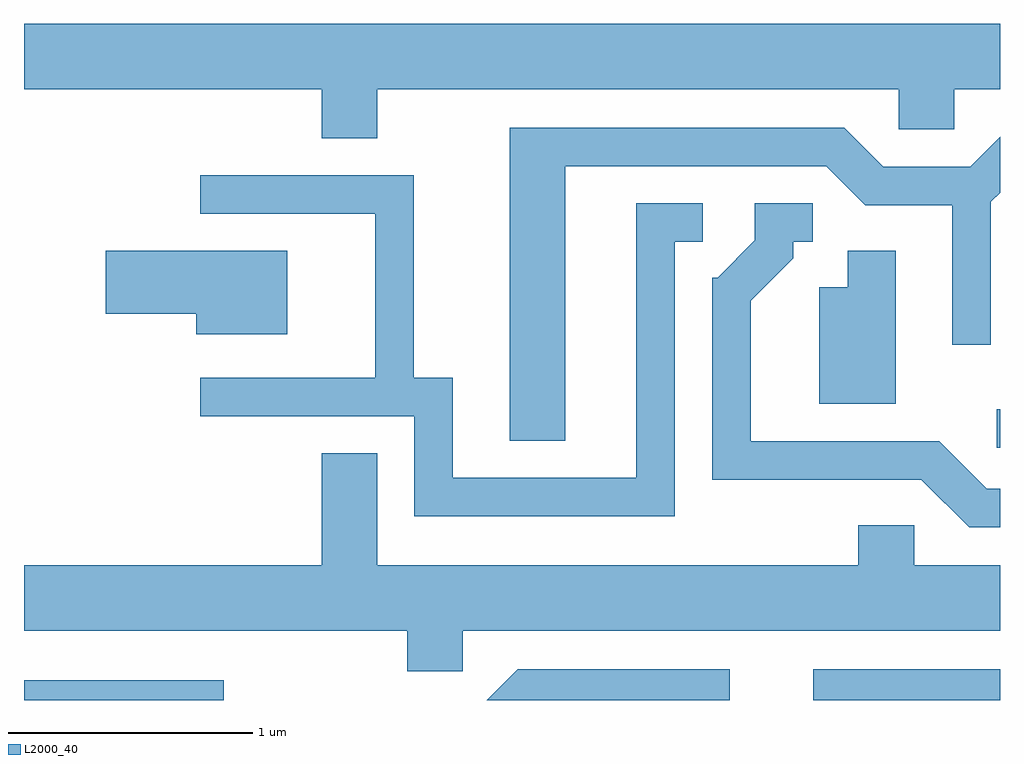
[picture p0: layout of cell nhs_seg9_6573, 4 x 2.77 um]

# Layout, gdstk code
import gdstk
lib = gdstk.Library(unit=1e-6, precision=1e-09)
def R(c, l, rs):  # rectangles x0, y0, x1, y1
    for r in rs: c.add(gdstk.rectangle(r[:2], r[2:], *l))
def P(c, l, *ps):  # polygons
    for p in ps: c.add(gdstk.Polygon(p, *l))
L2000_40 = (2000, 40)

nhs_seg9_6573 = lib.new_cell('nhs_seg9_6573')
R(nhs_seg9_6573, L2000_40, [(379.611,1980.432,380.429,1980.514), (382.846,1980.432,383.611,1980.559), (383.598,1981.466,383.611,1981.624)])
P(nhs_seg9_6573, L2000_40, [(381.059,1982.936),(383.196,1982.936),(383.196,1982.771),(383.424,1982.771),(383.424,1982.936),(383.611,1982.936),(383.611,1983.204),(379.611,1983.204),(379.611,1982.936),(380.831,1982.936),(380.831,1982.736),(381.059,1982.736)],
  [(381.829,1982.621),(382.899,1982.621),(383.059,1982.461),(383.416,1982.461),(383.416,1981.888),(383.574,1981.888),(383.574,1982.474),(383.611,1982.511),(383.611,1982.741),(383.489,1982.619),(383.132,1982.619),(382.972,1982.779),(381.601,1982.779),(381.601,1981.496),(381.829,1981.496)],
  [(382.279,1982.311),(382.393,1982.311),(382.393,1982.469),(382.121,1982.469),(382.121,1981.344),(381.369,1981.344),(381.369,1981.754),(381.209,1981.754),(381.209,1982.584),(380.333,1982.584),(380.333,1982.426),(381.051,1982.426),(381.051,1981.754),(380.333,1981.754),(380.333,1981.596),(381.211,1981.596),(381.211,1981.186),(382.279,1981.186)],
  [(383.611,1981.299),(383.557,1981.299),(383.362,1981.494),(382.589,1981.494),(382.589,1982.069),(382.764,1982.244),(382.764,1982.311),(382.843,1982.311),(382.843,1982.469),(382.606,1982.469),(382.606,1982.317),(382.454,1982.164),(382.431,1982.164),(382.431,1981.336),(383.289,1981.336),(383.484,1981.141),(383.611,1981.141)],
  [(380.689,1982.274),(379.946,1982.274),(379.946,1982.016),(380.316,1982.016),(380.316,1981.931),(380.689,1981.931)],
  [(383.184,1982.274),(382.986,1982.274),(382.986,1982.124),(382.871,1982.124),(382.871,1981.646),(383.184,1981.646)],
  [(381.409,1980.716),(383.611,1980.716),(383.611,1980.984),(383.259,1980.984),(383.259,1981.149),(383.031,1981.149),(383.031,1980.984),(381.059,1980.984),(381.059,1981.444),(380.831,1981.444),(380.831,1980.984),(379.611,1980.984),(379.611,1980.716),(381.181,1980.716),(381.181,1980.551),(381.409,1980.551)],
  [(382.504,1980.559),(381.634,1980.559),(381.507,1980.432),(382.504,1980.432)])

lib.write_gds('nhs_seg9_6573.gds')
